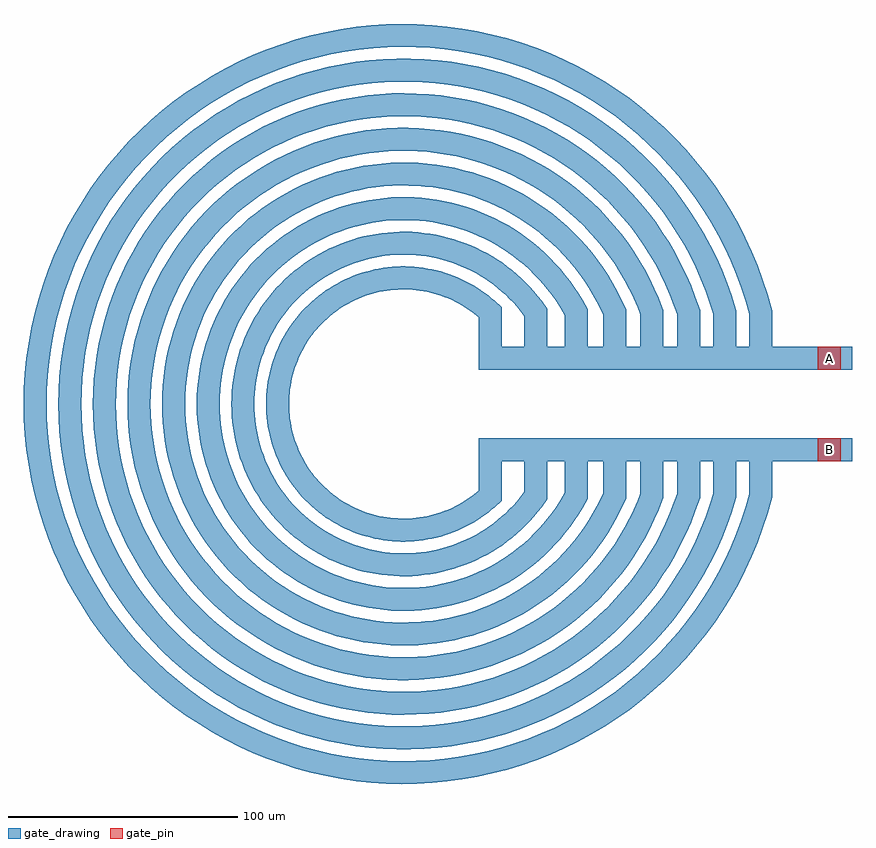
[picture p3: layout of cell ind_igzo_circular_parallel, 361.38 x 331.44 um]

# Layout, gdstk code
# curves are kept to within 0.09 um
import gdstk
lib = gdstk.Library(unit=1e-6, precision=1e-09)
def R(c, l, rs):  # rectangles x0, y0, x1, y1
    for r in rs: c.add(gdstk.rectangle(r[:2], r[2:], *l))
def P(c, l, *ps):  # polygons
    for p in ps: c.add(gdstk.Polygon(p, *l))
gate_drawing = (2, 0)
gate_pin = (2, 10)

ind_igzo_circular_parall = lib.new_cell('ind_igzo_circular_parallel')
R(ind_igzo_circular_parall, gate_drawing, [(32.74,-25,195.66,-15), (32.74,15,195.66,25)])
P(ind_igzo_circular_parall, gate_drawing, [(0.78,-60),(-5.04,-59.78),(-10.8,-59.02),(-16.46,-57.7),(-21.98,-55.84),(-25.52,-54.32),(-28.98,-52.54),(-33.92,-49.5),(-38.58,-45.96),(-42.84,-42.02),(-46.7,-37.68),(-50.14,-32.96),(-53.08,-27.96),(-55.56,-22.68),(-56.9,-19.04),(-58.02,-15.36),(-58.86,-11.56),(-59.72,-5.8),(-60,0),(-59.72,5.8),(-58.86,11.56),(-58.02,15.36),(-56.9,19.04),(-55.56,22.68),(-53.08,27.96),(-50.14,32.96),(-46.7,37.68),(-42.84,42.02),(-38.58,45.96),(-33.92,49.5),(-30.68,51.58),(-27.28,53.46),(-21.98,55.84),(-16.46,57.7),(-10.8,59.02),(-5.04,59.78),(0.78,60),(6.6,59.62),(12.32,58.72),(17.96,57.26),(23.4,55.24),(28.66,52.72),(33.62,49.7),(38.26,46.22),(42.74,42.18),(42.74,20),(32.74,20),(32.74,37.78),(28.02,41.42),(25.3,43.12),(22.46,44.68),(19.52,46.04),(14.96,47.7),(10.28,48.92),(5.48,49.7),(0.66,50),(-2.58,49.92),(-7.4,49.46),(-10.6,48.86),(-13.7,48.1),(-18.3,46.52),(-22.72,44.56),(-25.56,42.98),(-29.62,40.3),(-32.14,38.32),(-35.68,35.02),(-38.9,31.4),(-41.78,27.48),(-44.24,23.32),(-45.66,20.38),(-47.42,15.88),(-48.72,11.24),(-49.34,8.04),(-49.9,3.22),(-50,0),(-49.9,-3.22),(-49.34,-8.04),(-48.72,-11.24),(-47.42,-15.88),(-45.66,-20.38),(-44.24,-23.32),(-41.78,-27.48),(-38.9,-31.4),(-35.68,-35.02),(-32.14,-38.32),(-29.62,-40.3),(-25.56,-42.98),(-22.72,-44.54),(-18.3,-46.52),(-13.7,-48.1),(-10.6,-48.86),(-7.4,-49.46),(-2.58,-49.92),(0.66,-50),(5.48,-49.7),(10.28,-48.92),(14.96,-47.7),(19.52,-46.04),(22.46,-44.68),(25.3,-43.12),(28.02,-41.42),(32.74,-37.78),(32.74,-20),(42.74,-20),(42.74,-42.18),(38.26,-46.22),(33.62,-49.7),(28.66,-52.72),(23.4,-55.24),(17.96,-57.26),(12.32,-58.72),(6.6,-59.62)],
  [(0.98,-75.1),(-4.28,-74.98),(-6.9,-74.78),(-9.54,-74.5),(-14.8,-73.64),(-19.92,-72.42),(-24.96,-70.84),(-27.44,-69.92),(-32.3,-67.82),(-34.64,-66.64),(-41.48,-62.62),(-43.68,-61.1),(-47.84,-57.9),(-51.8,-54.38),(-53.7,-52.5),(-57.24,-48.62),(-62.06,-42.32),(-64.88,-37.84),(-67.38,-33.2),(-68.5,-30.78),(-69.56,-28.36),(-71.38,-23.4),(-73.42,-15.76),(-73.94,-13.16),(-74.7,-7.9),(-75.06,-2.64),(-75.06,2.64),(-74.9,5.28),(-74.7,7.9),(-73.94,13.16),(-72.14,20.86),(-70.5,25.88),(-69.56,28.36),(-67.38,33.2),(-64.88,37.84),(-62.06,42.32),(-60.52,44.46),(-57.24,48.62),(-55.5,50.6),(-51.8,54.38),(-49.86,56.16),(-47.84,57.9),(-43.68,61.1),(-39.26,64.02),(-32.3,67.82),(-27.44,69.92),(-24.96,70.84),(-22.46,71.68),(-17.36,73.06),(-14.8,73.64),(-9.54,74.5),(-4.28,74.98),(-1.66,75.08),(3.64,75.02),(11.52,74.22),(19.28,72.6),(24.34,71.06),(26.82,70.16),(31.68,68.1),(36.4,65.7),(43.14,61.5),(49.36,56.62),(53.22,52.98),(56.82,49.12),(58.52,47.08),(62.58,41.64),(62.58,20),(52.58,20),(52.58,38.36),(49.26,42.56),(44.48,47.54),(39.22,51.96),(33.54,55.8),(29.54,58.02),(25.38,59.96),(23.26,60.8),(18.9,62.3),(12.22,63.96),(5.44,64.88),(0.86,65.1),(-6.02,64.82),(-10.56,64.24),(-17.28,62.78),(-21.64,61.4),(-25.9,59.74),(-32.06,56.68),(-37.84,52.98),(-41.48,50.18),(-44.92,47.14),(-49.64,42.14),(-52.48,38.54),(-56.24,32.8),(-59.38,26.7),(-61.86,20.28),(-63.66,13.64),(-64.44,9.14),(-64.94,4.6),(-65.06,-2.28),(-64.74,-6.86),(-63.66,-13.64),(-62.54,-18.1),(-60.28,-24.6),(-58.42,-28.76),(-55.06,-34.74),(-52.48,-38.54),(-49.64,-42.14),(-48.1,-43.84),(-44.92,-47.14),(-39.7,-51.6),(-34.02,-55.5),(-30.04,-57.76),(-25.9,-59.74),(-19.46,-62.12),(-17.28,-62.78),(-12.8,-63.84),(-8.3,-64.58),(-1.42,-65.08),(3.16,-65.02),(10.02,-64.34),(14.48,-63.46),(18.9,-62.3),(25.38,-59.96),(29.54,-58.02),(35.48,-54.58),(39.22,-51.96),(44.48,-47.54),(49.26,-42.56),(52.58,-38.36),(52.58,-20),(62.58,-20),(62.58,-41.64),(58.52,-47.08),(56.82,-49.12),(53.22,-52.98),(49.36,-56.62),(43.14,-61.5),(38.7,-64.36),(34.06,-66.94),(31.68,-68.1),(26.82,-70.16),(24.34,-71.06),(19.28,-72.6),(14.14,-73.76),(11.52,-74.22),(6.28,-74.84)],
  [(1.22,-90.2),(-5.42,-90.06),(-8.74,-89.78),(-12.02,-89.4),(-18.58,-88.28),(-21.84,-87.54),(-28.2,-85.7),(-34.44,-83.38),(-40.48,-80.6),(-43.42,-79.06),(-49.12,-75.66),(-54.56,-71.84),(-59.7,-67.64),(-62.18,-65.36),(-66.8,-60.62),(-71.08,-55.54),(-73.08,-52.9),(-76.78,-47.36),(-80.06,-41.58),(-81.54,-38.6),(-82.9,-35.56),(-85.28,-29.38),(-86.32,-26.22),(-88.02,-19.78),(-89.22,-13.26),(-89.96,-6.64),(-90.14,-3.32),(-90.2,0),(-89.96,6.64),(-89.22,13.26),(-88.02,19.78),(-86.32,26.22),(-85.28,29.38),(-82.9,35.56),(-81.54,38.6),(-80.06,41.58),(-76.78,47.36),(-73.08,52.9),(-71.08,55.54),(-66.8,60.62),(-62.18,65.36),(-59.7,67.64),(-54.56,71.84),(-49.12,75.66),(-46.3,77.42),(-40.48,80.62),(-37.48,82.04),(-34.44,83.38),(-28.2,85.7),(-21.84,87.54),(-18.58,88.28),(-12.02,89.4),(-5.42,90.06),(-2.1,90.18),(4.56,90.1),(11.16,89.52),(14.48,89.04),(20.98,87.74),(27.38,85.94),(33.62,83.7),(39.7,81.02),(45.58,77.86),(51.18,74.3),(56.48,70.32),(61.54,65.98),(66.2,61.26),(70.56,56.22),(74.48,50.88),(78.04,45.26),(80.24,41.3),(80.24,20),(70.24,20),(70.24,38.7),(66.24,45.24),(62.72,49.98),(58.88,54.46),(56.8,56.62),(52.52,60.64),(50.24,62.52),(45.5,66.06),(40.5,69.22),(35.3,72.02),(32.64,73.26),(27.14,75.48),(21.5,77.26),(15.76,78.64),(9.92,79.6),(6.98,79.9),(1.1,80.2),(-4.82,80.06),(-10.7,79.48),(-13.62,79.04),(-19.4,77.82),(-22.26,77.06),(-27.86,75.22),(-33.32,72.96),(-38.62,70.3),(-43.68,67.26),(-48.52,63.88),(-50.84,62.04),(-55.26,58.16),(-59.4,53.9),(-61.34,51.68),(-64.98,47.02),(-68.26,42.12),(-69.78,39.58),(-72.5,34.32),(-74.82,28.9),(-76.76,23.3),(-77.54,20.46),(-78.26,17.58),(-79.34,11.78),(-80,5.92),(-80.14,2.96),(-80.2,0),(-80,-5.92),(-79.34,-11.78),(-78.84,-14.68),(-78.26,-17.58),(-76.76,-23.3),(-74.82,-28.9),(-73.7,-31.64),(-72.5,-34.32),(-69.78,-39.58),(-68.26,-42.12),(-64.98,-47.02),(-61.34,-51.68),(-59.4,-53.9),(-55.26,-58.16),(-53.1,-60.12),(-48.52,-63.88),(-46.14,-65.6),(-43.68,-67.26),(-38.62,-70.3),(-33.32,-72.96),(-30.6,-74.14),(-27.86,-75.22),(-22.26,-77.06),(-16.54,-78.48),(-13.62,-79.04),(-10.7,-79.48),(-4.82,-80.06),(1.1,-80.2),(4.04,-80.1),(9.92,-79.6),(15.76,-78.64),(18.66,-78.02),(24.34,-76.42),(27.14,-75.48),(32.64,-73.26),(35.3,-72.02),(40.5,-69.22),(45.5,-66.06),(50.24,-62.52),(52.52,-60.64),(56.8,-56.62),(60.86,-52.26),(64.52,-47.64),(66.24,-45.24),(70.24,-38.7),(70.24,-20),(80.24,-20),(80.24,-41.3),(76.3,-48.12),(74.48,-50.88),(70.56,-56.22),(66.2,-61.26),(61.54,-65.98),(59.04,-68.2),(53.88,-72.34),(48.4,-76.12),(45.58,-77.86),(39.7,-81.02),(33.62,-83.7),(30.54,-84.88),(24.22,-86.9),(17.72,-88.44),(11.16,-89.52),(4.56,-90.1)],
  [(-1.62,-105.3),(-9.58,-104.88),(-13.56,-104.44),(-21.44,-103.1),(-29.2,-101.18),(-36.78,-98.68),(-40.52,-97.22),(-44.16,-95.6),(-51.26,-92),(-54.74,-89.98),(-61.4,-85.56),(-67.68,-80.68),(-70.72,-78.04),(-76.42,-72.46),(-81.7,-66.46),(-86.5,-60.08),(-88.72,-56.76),(-90.82,-53.32),(-94.6,-46.3),(-97.82,-38.98),(-100.5,-31.48),(-102.6,-23.78),(-103.44,-19.86),(-104.62,-11.96),(-105,-7.98),(-105.32,0),(-105,7.98),(-104.62,11.96),(-103.44,19.86),(-102.6,23.78),(-100.5,31.48),(-99.24,35.26),(-96.28,42.68),(-94.6,46.3),(-90.82,53.34),(-86.5,60.08),(-81.7,66.46),(-76.42,72.46),(-73.62,75.3),(-67.68,80.68),(-61.4,85.56),(-58.1,87.82),(-54.74,89.98),(-51.26,92),(-47.74,93.86),(-40.52,97.22),(-33,100.02),(-29.2,101.18),(-25.34,102.22),(-17.52,103.86),(-9.58,104.88),(-1.62,105.3),(2.38,105.28),(10.34,104.8),(18.26,103.72),(22.18,102.94),(29.92,100.98),(37.48,98.42),(41.2,96.92),(48.42,93.52),(55.36,89.58),(58.72,87.42),(65.2,82.72),(71.26,77.54),(76.94,71.92),(79.62,68.94),(84.62,62.7),(86.94,59.44),(91.18,52.7),(93.12,49.2),(97,41.1),(97,20),(87,20),(87,38.9),(84.28,44.52),(82.54,47.66),(78.66,53.8),(76.58,56.74),(72.06,62.38),(67.12,67.68),(61.8,72.58),(56.12,77.04),(53.16,79.1),(47,82.92),(43.82,84.64),(37.28,87.72),(33.92,89.06),(27.08,91.38),(23.6,92.34),(16.54,93.88),(12.98,94.42),(9.38,94.84),(2.14,95.28),(-1.46,95.3),(-8.7,94.92),(-15.84,94),(-22.94,92.5),(-26.44,91.58),(-33.3,89.32),(-36.64,87.98),(-39.96,86.52),(-46.42,83.24),(-52.58,79.5),(-58.46,75.28),(-61.28,73),(-64,70.64),(-69.18,65.58),(-73.94,60.14),(-76.16,57.3),(-78.3,54.36),(-82.18,48.28),(-83.96,45.12),(-87.12,38.64),(-88.54,35.3),(-90.94,28.48),(-91.98,25),(-93.6,17.98),(-94.7,10.84),(-95.04,7.22),(-95.32,0),(-95.04,-7.22),(-94.7,-10.84),(-93.6,-17.98),(-92.84,-21.5),(-91.98,-25),(-89.8,-31.9),(-88.54,-35.28),(-85.6,-41.9),(-83.96,-45.12),(-80.28,-51.36),(-78.3,-54.36),(-73.94,-60.14),(-69.18,-65.58),(-64,-70.64),(-58.46,-75.28),(-52.58,-79.5),(-46.42,-83.24),(-43.22,-84.94),(-39.96,-86.52),(-33.3,-89.32),(-26.44,-91.58),(-19.4,-93.3),(-12.28,-94.52),(-8.7,-94.92),(-1.46,-95.3),(5.76,-95.12),(12.98,-94.42),(20.06,-93.18),(27.08,-91.38),(30.52,-90.28),(37.28,-87.72),(43.82,-84.64),(50.12,-81.06),(56.12,-77.04),(61.8,-72.58),(64.5,-70.18),(67.12,-67.68),(72.06,-62.38),(76.58,-56.74),(80.66,-50.78),(82.54,-47.66),(84.28,-44.52),(87,-38.9),(87,-20),(97,-20),(97,-41.1),(93.12,-49.2),(89.12,-56.1),(84.62,-62.7),(79.62,-68.94),(74.16,-74.76),(68.28,-80.18),(65.2,-82.72),(58.72,-87.42),(51.94,-91.6),(44.86,-95.28),(37.48,-98.42),(29.92,-100.98),(22.18,-102.94),(14.32,-104.34),(6.36,-105.12)],
  [(2,-120.4),(-7.32,-120.2),(-16.58,-119.28),(-21.2,-118.54),(-30.3,-116.54),(-34.78,-115.28),(-43.62,-112.24),(-47.92,-110.46),(-56.32,-106.44),(-64.4,-101.76),(-68.28,-99.18),(-75.74,-93.6),(-79.32,-90.6),(-86.08,-84.2),(-92.34,-77.3),(-95.26,-73.66),(-100.68,-66.06),(-103.16,-62.12),(-107.66,-53.96),(-111.5,-45.46),(-113.18,-41.1),(-116.02,-32.24),(-117.18,-27.74),(-118.16,-23.16),(-118.98,-18.58),(-119.6,-13.96),(-120.32,-4.66),(-120.42,0),(-120.32,4.66),(-119.6,13.96),(-118.98,18.58),(-118.16,23.16),(-117.18,27.74),(-116.02,32.24),(-113.18,41.1),(-111.5,45.48),(-107.66,53.96),(-103.16,62.12),(-100.68,66.06),(-95.26,73.66),(-92.34,77.3),(-86.08,84.2),(-82.76,87.48),(-79.32,90.6),(-75.74,93.6),(-68.28,99.18),(-64.4,101.76),(-56.32,106.44),(-52.16,108.54),(-47.92,110.46),(-43.62,112.24),(-39.24,113.84),(-30.3,116.54),(-25.78,117.62),(-21.2,118.54),(-16.58,119.28),(-7.32,120.2),(-2.66,120.38),(6.66,120.24),(15.94,119.36),(25.12,117.78),(34.16,115.48),(38.62,114.06),(42.98,112.48),(47.3,110.74),(51.56,108.82),(55.74,106.74),(59.82,104.5),(63.84,102.1),(67.74,99.56),(71.54,96.86),(75.22,94.02),(78.82,91.04),(82.28,87.92),(85.62,84.68),(88.82,81.3),(91.92,77.8),(94.86,74.18),(97.66,70.44),(100.3,66.6),(105.16,58.66),(107.36,54.54),(109.38,50.36),(111.26,46.08),(113.26,40.94),(113.26,20),(103.26,20),(103.26,39.06),(102.02,42.24),(98.44,50.02),(96.44,53.78),(91.98,61.08),(86.98,68.02),(81.46,74.54),(78.5,77.64),(72.26,83.48),(65.6,88.82),(58.52,93.62),(54.86,95.82),(47.28,99.78),(43.38,101.54),(39.42,103.12),(31.32,105.88),(27.2,107.02),(23.04,107.98),(18.84,108.8),(14.62,109.44),(10.38,109.92),(1.84,110.4),(-6.72,110.2),(-15.22,109.36),(-19.44,108.7),(-23.62,107.86),(-31.9,105.72),(-35.96,104.4),(-43.92,101.3),(-51.64,97.6),(-59.04,93.32),(-66.08,88.46),(-69.46,85.84),(-75.88,80.22),(-81.86,74.08),(-84.66,70.86),(-89.9,64.12),(-94.6,56.96),(-96.72,53.26),(-98.7,49.48),(-102.24,41.7),(-105.16,33.66),(-107.46,25.42),(-108.36,21.24),(-109.68,12.8),(-110.08,8.54),(-110.42,0),(-110.32,-4.26),(-109.68,-12.8),(-109.1,-17.02),(-107.46,-25.42),(-106.38,-29.56),(-105.16,-33.66),(-102.24,-41.68),(-100.54,-45.62),(-96.72,-53.26),(-94.6,-56.96),(-89.9,-64.12),(-87.34,-67.54),(-81.86,-74.08),(-75.88,-80.2),(-72.72,-83.08),(-69.46,-85.84),(-66.08,-88.46),(-59.04,-93.32),(-55.38,-95.52),(-51.64,-97.6),(-43.92,-101.3),(-35.96,-104.4),(-31.9,-105.72),(-23.62,-107.86),(-19.44,-108.7),(-15.22,-109.36),(-6.72,-110.2),(1.84,-110.4),(10.38,-109.92),(14.62,-109.44),(18.84,-108.8),(27.2,-107.02),(31.32,-105.88),(39.42,-103.12),(43.38,-101.54),(51.1,-97.86),(54.86,-95.82),(58.52,-93.62),(65.6,-88.82),(68.98,-86.22),(72.26,-83.48),(78.5,-77.64),(81.46,-74.54),(86.98,-68.02),(91.98,-61.08),(96.44,-53.78),(100.3,-46.16),(103.26,-39.06),(103.26,-20),(113.26,-20),(113.26,-40.94),(111.26,-46.08),(109.38,-50.36),(107.36,-54.54),(105.16,-58.66),(102.8,-62.68),(97.66,-70.44),(94.86,-74.18),(91.92,-77.8),(85.62,-84.68),(82.28,-87.92),(78.82,-91.04),(75.22,-94.02),(71.54,-96.86),(67.74,-99.56),(63.84,-102.1),(55.74,-106.74),(47.3,-110.74),(38.62,-114.06),(34.16,-115.48),(25.12,-117.78),(15.94,-119.36),(6.66,-120.24)],
  [(0.22,-135.52),(-5.14,-135.42),(-15.74,-134.6),(-21.02,-133.88),(-26.26,-132.94),(-31.46,-131.82),(-36.64,-130.48),(-41.72,-128.94),(-46.76,-127.2),(-51.74,-125.26),(-61.4,-120.82),(-66.1,-118.3),(-70.68,-115.62),(-75.2,-112.74),(-79.56,-109.7),(-83.82,-106.48),(-87.92,-103.12),(-91.92,-99.6),(-95.76,-95.9),(-99.44,-92.06),(-102.98,-88.08),(-106.36,-83.96),(-109.58,-79.72),(-112.64,-75.36),(-115.5,-70.86),(-118.2,-66.26),(-120.72,-61.58),(-123.04,-56.8),(-125.18,-51.92),(-127.14,-46.96),(-128.88,-41.9),(-130.42,-36.82),(-131.76,-31.66),(-132.9,-26.46),(-133.84,-21.24),(-134.58,-15.96),(-135.1,-10.62),(-135.42,-5.32),(-135.52,0),(-135.42,5.32),(-135.1,10.62),(-134.58,15.96),(-133.84,21.24),(-132.9,26.46),(-131.76,31.66),(-130.42,36.82),(-128.88,41.9),(-127.14,46.96),(-125.18,51.92),(-123.04,56.8),(-120.72,61.58),(-118.2,66.26),(-115.5,70.88),(-112.64,75.36),(-109.58,79.72),(-106.36,83.96),(-102.98,88.08),(-99.44,92.06),(-95.76,95.9),(-91.92,99.6),(-83.82,106.5),(-79.56,109.7),(-75.2,112.74),(-70.68,115.62),(-66.1,118.3),(-61.4,120.82),(-51.74,125.26),(-46.76,127.2),(-41.72,128.94),(-36.64,130.48),(-31.46,131.82),(-26.26,132.94),(-21.02,133.88),(-15.74,134.6),(-5.14,135.42),(0.22,135.52),(5.52,135.4),(10.84,135.08),(16.14,134.54),(21.4,133.82),(26.66,132.86),(31.86,131.72),(37,130.38),(42.12,128.82),(52.1,125.1),(56.96,122.96),(61.76,120.64),(66.46,118.12),(71.04,115.4),(75.52,112.54),(79.9,109.48),(88.24,102.86),(96.04,95.62),(99.72,91.76),(103.26,87.78),(109.84,79.4),(115.72,70.52),(118.42,65.94),(120.9,61.22),(125.34,51.54),(127.26,46.58),(129.24,40.84),(129.24,20),(119.24,20),(119.24,39.16),(116.1,47.74),(111.98,56.7),(109.66,61.08),(107.2,65.32),(104.54,69.48),(98.74,77.48),(95.62,81.3),(92.36,85),(88.96,88.54),(85.4,91.98),(81.72,95.26),(77.92,98.4),(73.98,101.4),(69.96,104.22),(61.54,109.4),(57.2,111.72),(52.76,113.88),(48.26,115.86),(43.66,117.68),(39,119.3),(34.28,120.74),(29.5,122),(24.7,123.06),(19.84,123.94),(10.04,125.12),(0.2,125.52),(-9.68,125.14),(-14.58,124.68),(-24.34,123.14),(-29.14,122.1),(-38.64,119.42),(-43.32,117.8),(-47.9,116.02),(-52.44,114.04),(-56.88,111.9),(-61.22,109.58),(-65.46,107.1),(-69.64,104.42),(-73.68,101.62),(-77.62,98.64),(-81.44,95.52),(-85.12,92.24),(-88.68,88.82),(-95.38,81.6),(-101.5,73.84),(-104.32,69.8),(-106.98,65.66),(-109.48,61.38),(-113.96,52.6),(-115.94,48.08),(-117.74,43.48),(-119.36,38.82),(-122.04,29.34),(-123.1,24.5),(-124.66,14.76),(-125.14,9.86),(-125.52,0),(-125.42,-4.92),(-125.14,-9.86),(-124.66,-14.76),(-123.96,-19.64),(-123.1,-24.5),(-122.04,-29.34),(-120.78,-34.1),(-119.36,-38.82),(-117.74,-43.48),(-115.94,-48.08),(-113.96,-52.6),(-109.48,-61.38),(-106.98,-65.64),(-104.32,-69.8),(-101.5,-73.84),(-95.38,-81.6),(-88.68,-88.82),(-85.12,-92.24),(-81.44,-95.52),(-73.68,-101.62),(-65.46,-107.1),(-61.22,-109.58),(-56.88,-111.9),(-52.44,-114.04),(-47.9,-116.02),(-43.32,-117.8),(-38.64,-119.42),(-33.92,-120.84),(-29.14,-122.1),(-24.34,-123.14),(-19.46,-124),(-14.58,-124.68),(-9.68,-125.14),(-4.74,-125.42),(0.2,-125.52),(10.04,-125.12),(19.84,-123.94),(24.7,-123.06),(29.5,-122),(34.28,-120.74),(39,-119.3),(43.66,-117.68),(48.26,-115.86),(52.76,-113.88),(57.2,-111.72),(61.54,-109.4),(69.96,-104.22),(73.98,-101.4),(77.92,-98.4),(81.72,-95.26),(85.4,-91.98),(88.96,-88.54),(92.36,-85),(95.62,-81.3),(98.74,-77.48),(104.54,-69.48),(107.2,-65.32),(109.66,-61.06),(111.98,-56.7),(114.12,-52.26),(116.1,-47.74),(117.86,-43.14),(119.24,-39.16),(119.24,-20),(129.24,-20),(129.24,-40.84),(127.26,-46.58),(125.34,-51.54),(120.9,-61.22),(118.42,-65.92),(115.72,-70.52),(109.84,-79.4),(106.62,-83.64),(103.26,-87.78),(99.72,-91.76),(96.04,-95.62),(88.24,-102.86),(79.9,-109.48),(75.52,-112.54),(66.46,-118.12),(61.76,-120.64),(56.96,-122.96),(52.1,-125.1),(47.14,-127.04),(42.12,-128.82),(37,-130.38),(31.86,-131.72),(26.66,-132.86),(21.4,-133.82),(16.14,-134.54),(10.84,-135.08),(5.52,-135.4)],
  [(-2.98,-150.6),(-8.98,-150.36),(-14.94,-149.88),(-20.88,-149.18),(-26.82,-148.22),(-32.66,-147.04),(-38.5,-145.62),(-44.24,-143.98),(-49.94,-142.1),(-55.54,-140),(-61.06,-137.7),(-66.5,-135.14),(-71.82,-132.4),(-77.04,-129.44),(-82.1,-126.26),(-87.06,-122.9),(-91.88,-119.34),(-96.56,-115.6),(-101.08,-111.66),(-105.44,-107.58),(-109.64,-103.28),(-113.66,-98.84),(-117.5,-94.24),(-121.14,-89.5),(-124.62,-84.6),(-127.86,-79.6),(-130.94,-74.46),(-133.8,-69.18),(-136.42,-63.82),(-138.86,-58.34),(-141.08,-52.78),(-143.06,-47.12),(-144.82,-41.4),(-146.36,-35.6),(-147.66,-29.74),(-148.72,-23.84),(-149.54,-17.94),(-150.14,-11.98),(-150.5,-5.98),(-150.62,0),(-150.5,5.98),(-150.14,11.98),(-149.54,17.94),(-148.72,23.84),(-147.66,29.74),(-146.36,35.6),(-144.82,41.4),(-143.06,47.12),(-141.08,52.78),(-138.86,58.34),(-136.42,63.82),(-133.8,69.18),(-130.94,74.46),(-127.86,79.6),(-124.62,84.6),(-121.14,89.52),(-117.5,94.26),(-113.66,98.84),(-109.64,103.28),(-105.44,107.58),(-101.08,111.66),(-96.56,115.6),(-91.88,119.34),(-87.06,122.9),(-82.1,126.28),(-77.04,129.44),(-71.82,132.4),(-66.5,135.14),(-61.06,137.7),(-55.54,140.02),(-49.94,142.1),(-44.24,143.98),(-38.5,145.62),(-32.66,147.04),(-26.82,148.22),(-20.88,149.18),(-14.94,149.88),(-8.98,150.36),(-2.98,150.6),(3,150.6),(9,150.36),(14.96,149.88),(20.92,149.18),(26.82,148.22),(32.68,147.04),(38.52,145.62),(44.26,143.96),(49.96,142.1),(55.56,139.98),(61.08,137.68),(66.5,135.16),(71.86,132.4),(77.04,129.42),(82.12,126.26),(87.08,122.9),(91.9,119.34),(96.56,115.6),(101.1,111.66),(105.46,107.54),(109.64,103.26),(113.66,98.84),(117.5,94.24),(121.16,89.5),(124.62,84.6),(127.88,79.58),(130.94,74.44),(133.8,69.18),(136.46,63.8),(138.88,58.32),(141.08,52.76),(143.08,47.1),(145.02,40.76),(145.02,20),(135.02,20),(135.02,39.26),(133.58,43.98),(131.72,49.24),(129.64,54.44),(127.38,59.56),(124.92,64.58),(122.26,69.48),(119.4,74.3),(116.34,79),(113.12,83.54),(109.7,87.96),(106.1,92.28),(102.36,96.42),(98.46,100.42),(94.38,104.26),(90.16,107.92),(85.78,111.42),(81.32,114.74),(76.68,117.86),(71.92,120.82),(67.06,123.6),(62.1,126.18),(57.04,128.52),(51.88,130.7),(46.64,132.66),(41.34,134.4),(35.96,135.94),(30.52,137.28),(25.02,138.38),(19.52,139.26),(13.96,139.92),(8.4,140.36),(2.8,140.6),(-2.78,140.6),(-8.38,140.36),(-13.94,139.92),(-19.5,139.26),(-25.02,138.38),(-30.5,137.28),(-35.94,135.94),(-41.32,134.42),(-46.62,132.66),(-51.86,130.72),(-57.02,128.54),(-62.1,126.18),(-67.06,123.6),(-71.92,120.84),(-76.64,117.9),(-81.28,114.74),(-85.8,111.42),(-90.16,107.92),(-94.36,104.26),(-98.44,100.42),(-102.36,96.44),(-106.1,92.28),(-109.7,88),(-113.1,83.58),(-116.34,79),(-119.38,74.32),(-122.26,69.5),(-124.92,64.58),(-129.66,54.46),(-131.72,49.26),(-133.56,44),(-135.22,38.64),(-136.64,33.24),(-137.86,27.78),(-138.84,22.28),(-139.62,16.74),(-140.18,11.18),(-140.5,5.58),(-140.62,0),(-140.5,-5.58),(-140.18,-11.18),(-139.62,-16.74),(-138.84,-22.28),(-137.86,-27.78),(-136.64,-33.24),(-135.22,-38.64),(-133.56,-44),(-131.72,-49.26),(-129.66,-54.46),(-124.92,-64.58),(-122.26,-69.5),(-119.38,-74.32),(-116.34,-79),(-113.1,-83.56),(-109.7,-87.98),(-106.1,-92.28),(-102.36,-96.44),(-98.44,-100.42),(-94.36,-104.26),(-90.16,-107.92),(-85.8,-111.42),(-81.28,-114.74),(-76.64,-117.88),(-71.92,-120.84),(-67.06,-123.6),(-62.1,-126.18),(-57.02,-128.54),(-51.86,-130.7),(-46.62,-132.66),(-41.32,-134.42),(-35.94,-135.94),(-30.5,-137.28),(-25.02,-138.38),(-19.5,-139.26),(-13.94,-139.92),(-8.38,-140.36),(-2.78,-140.6),(2.8,-140.6),(8.4,-140.36),(13.96,-139.92),(19.52,-139.26),(25.02,-138.38),(30.52,-137.28),(35.96,-135.94),(41.34,-134.4),(46.64,-132.66),(51.88,-130.7),(57.04,-128.52),(62.1,-126.16),(67.06,-123.6),(71.92,-120.82),(76.68,-117.86),(81.32,-114.74),(85.78,-111.42),(90.16,-107.92),(94.38,-104.26),(98.46,-100.42),(102.36,-96.42),(106.1,-92.28),(109.7,-87.96),(113.12,-83.54),(116.34,-79),(119.4,-74.3),(122.26,-69.48),(124.92,-64.58),(127.38,-59.56),(129.64,-54.44),(131.72,-49.24),(133.58,-43.98),(135.02,-39.24),(135.02,-20),(145.02,-20),(145.02,-40.74),(143.08,-47.1),(141.08,-52.76),(138.88,-58.32),(136.46,-63.8),(133.8,-69.18),(130.94,-74.44),(127.88,-79.58),(124.62,-84.6),(121.16,-89.5),(117.5,-94.24),(113.66,-98.84),(109.64,-103.26),(105.46,-107.54),(101.1,-111.66),(96.56,-115.6),(91.9,-119.34),(87.08,-122.9),(82.12,-126.26),(77.04,-129.42),(71.86,-132.4),(66.5,-135.14),(61.08,-137.68),(55.56,-139.98),(49.96,-142.1),(44.26,-143.96),(38.52,-145.62),(32.68,-147.04),(26.82,-148.22),(20.92,-149.18),(14.96,-149.88),(9,-150.36),(3,-150.6)],
  [(-0.88,-165.72),(-7.52,-165.56),(-14.16,-165.12),(-20.78,-164.42),(-27.36,-163.46),(-33.9,-162.22),(-40.38,-160.74),(-46.82,-158.98),(-53.14,-156.98),(-59.42,-154.7),(-65.56,-152.22),(-71.62,-149.44),(-77.56,-146.46),(-83.38,-143.22),(-89.04,-139.76),(-94.6,-136.08),(-99.98,-132.16),(-105.2,-128.06),(-110.24,-123.74),(-115.14,-119.22),(-119.82,-114.48),(-124.3,-109.58),(-128.62,-104.52),(-132.7,-99.28),(-136.58,-93.86),(-140.24,-88.3),(-143.68,-82.62),(-146.88,-76.78),(-149.84,-70.82),(-152.54,-64.76),(-155.04,-58.56),(-157.24,-52.3),(-159.22,-45.94),(-160.94,-39.54),(-162.4,-33.04),(-163.6,-26.5),(-164.52,-19.9),(-165.18,-13.28),(-165.6,-6.64),(-165.72,0),(-165.6,6.64),(-165.18,13.28),(-164.52,19.9),(-163.6,26.5),(-162.4,33.04),(-160.94,39.54),(-159.22,45.94),(-157.24,52.3),(-155.04,58.56),(-152.54,64.76),(-149.84,70.82),(-146.88,76.78),(-143.68,82.62),(-140.24,88.3),(-136.58,93.86),(-132.7,99.28),(-128.62,104.52),(-124.3,109.58),(-119.82,114.5),(-115.14,119.22),(-110.24,123.74),(-105.2,128.06),(-99.98,132.16),(-94.6,136.08),(-89.04,139.76),(-83.38,143.22),(-77.56,146.46),(-71.62,149.46),(-65.56,152.22),(-59.42,154.7),(-53.14,156.98),(-46.82,158.98),(-40.38,160.74),(-33.9,162.22),(-27.36,163.46),(-20.78,164.42),(-14.16,165.12),(-7.52,165.56),(-0.88,165.72),(5.78,165.62),(12.42,165.26),(19.04,164.62),(25.62,163.74),(32.18,162.56),(38.66,161.14),(45.1,159.48),(51.48,157.54),(57.74,155.34),(63.94,152.9),(70,150.22),(76,147.28),(81.84,144.1),(87.56,140.7),(93.14,137.08),(98.54,133.24),(103.84,129.18),(108.92,124.9),(113.86,120.44),(118.6,115.78),(123.14,110.9),(127.48,105.88),(131.64,100.68),(135.58,95.32),(139.28,89.8),(142.78,84.14),(146.04,78.34),(149.06,72.42),(151.86,66.38),(154.4,60.24),(156.68,53.98),(158.74,47.66),(160.66,40.68),(160.66,20),(150.66,20),(150.66,39.32),(149.14,44.78),(147.24,50.74),(145.08,56.6),(142.7,62.38),(140.06,68.06),(137.24,73.62),(134.18,79.06),(130.88,84.36),(127.38,89.56),(123.68,94.6),(119.8,99.48),(115.7,104.22),(111.44,108.8),(106.98,113.16),(102.36,117.38),(97.56,121.38),(92.62,125.2),(87.52,128.8),(82.28,132.22),(76.88,135.42),(71.4,138.4),(65.8,141.14),(60.06,143.66),(54.26,145.98),(48.36,148.02),(42.38,149.84),(36.34,151.42),(30.22,152.76),(24.06,153.86),(17.88,154.7),(11.66,155.3),(5.42,155.62),(-0.84,155.72),(-7.08,155.56),(-13.32,155.16),(-19.54,154.5),(-25.7,153.58),(-31.86,152.42),(-37.94,151.02),(-43.98,149.38),(-49.94,147.5),(-55.82,145.38),(-61.6,143.02),(-67.3,140.44),(-72.88,137.62),(-78.34,134.58),(-83.68,131.32),(-88.88,127.88),(-93.94,124.2),(-98.84,120.34),(-103.6,116.26),(-108.18,112.02),(-112.58,107.6),(-116.8,102.98),(-120.86,98.2),(-124.7,93.28),(-128.34,88.22),(-131.76,82.98),(-135,77.62),(-138,72.14),(-140.8,66.54),(-143.34,60.84),(-145.68,55.04),(-147.76,49.14),(-149.62,43.18),(-151.22,37.14),(-152.6,31.04),(-153.72,24.9),(-154.6,18.7),(-155.22,12.48),(-155.6,6.24),(-155.72,0),(-155.6,-6.24),(-155.22,-12.48),(-154.6,-18.7),(-153.72,-24.9),(-152.6,-31.04),(-151.22,-37.14),(-149.62,-43.18),(-147.76,-49.14),(-145.68,-55.04),(-143.34,-60.84),(-140.8,-66.54),(-138,-72.14),(-135,-77.62),(-131.76,-82.98),(-128.34,-88.22),(-124.7,-93.28),(-120.86,-98.2),(-116.8,-102.98),(-112.58,-107.58),(-108.18,-112.02),(-103.6,-116.26),(-98.84,-120.34),(-93.94,-124.2),(-88.88,-127.88),(-83.68,-131.32),(-78.34,-134.58),(-72.88,-137.62),(-67.3,-140.42),(-61.6,-143.02),(-55.82,-145.38),(-49.94,-147.5),(-43.98,-149.38),(-37.94,-151.02),(-31.86,-152.42),(-25.7,-153.58),(-19.54,-154.5),(-13.32,-155.16),(-7.08,-155.56),(-0.84,-155.72),(5.42,-155.62),(11.66,-155.3),(17.88,-154.7),(24.06,-153.86),(30.22,-152.76),(36.34,-151.42),(42.38,-149.84),(48.36,-148.02),(54.26,-145.98),(60.06,-143.66),(65.8,-141.14),(71.4,-138.4),(76.88,-135.42),(82.28,-132.22),(87.52,-128.8),(92.62,-125.2),(97.56,-121.38),(102.36,-117.38),(106.98,-113.16),(111.44,-108.78),(115.7,-104.22),(119.8,-99.48),(123.68,-94.6),(127.38,-89.56),(130.88,-84.36),(134.18,-79.06),(137.24,-73.62),(140.06,-68.06),(142.7,-62.38),(145.08,-56.6),(147.24,-50.74),(149.14,-44.78),(150.66,-39.32),(150.66,-20),(160.66,-20),(160.66,-40.68),(158.74,-47.66),(156.68,-53.98),(154.4,-60.24),(151.86,-66.38),(149.06,-72.42),(146.04,-78.34),(142.78,-84.14),(139.28,-89.8),(135.58,-95.32),(131.64,-100.68),(127.48,-105.88),(123.14,-110.9),(118.6,-115.76),(113.86,-120.44),(108.92,-124.9),(103.84,-129.18),(98.54,-133.24),(93.14,-137.08),(87.56,-140.7),(81.84,-144.1),(76,-147.28),(70,-150.22),(63.94,-152.9),(57.74,-155.34),(51.48,-157.54),(45.1,-159.48),(38.66,-161.14),(32.18,-162.56),(25.62,-163.74),(19.04,-164.62),(12.42,-165.26),(5.78,-165.62)])
R(ind_igzo_circular_parall, gate_pin, [(180.66,-25,190.66,-15), (180.66,15,190.66,25)])
ind_igzo_circular_parall.add(gdstk.Label('A', (185.66,20), layer=2, texttype=10))
ind_igzo_circular_parall.add(gdstk.Label('B', (185.66,-20), layer=2, texttype=10))
ind_igzo_circular_parall.add(gdstk.Label('ind_igzo 129.5pH / 3.871Ohm @ 100MHz / Q 0.02', (0,-205), layer=63, texttype=0))

lib.write_gds('ind_igzo_circular_parallel.gds')
